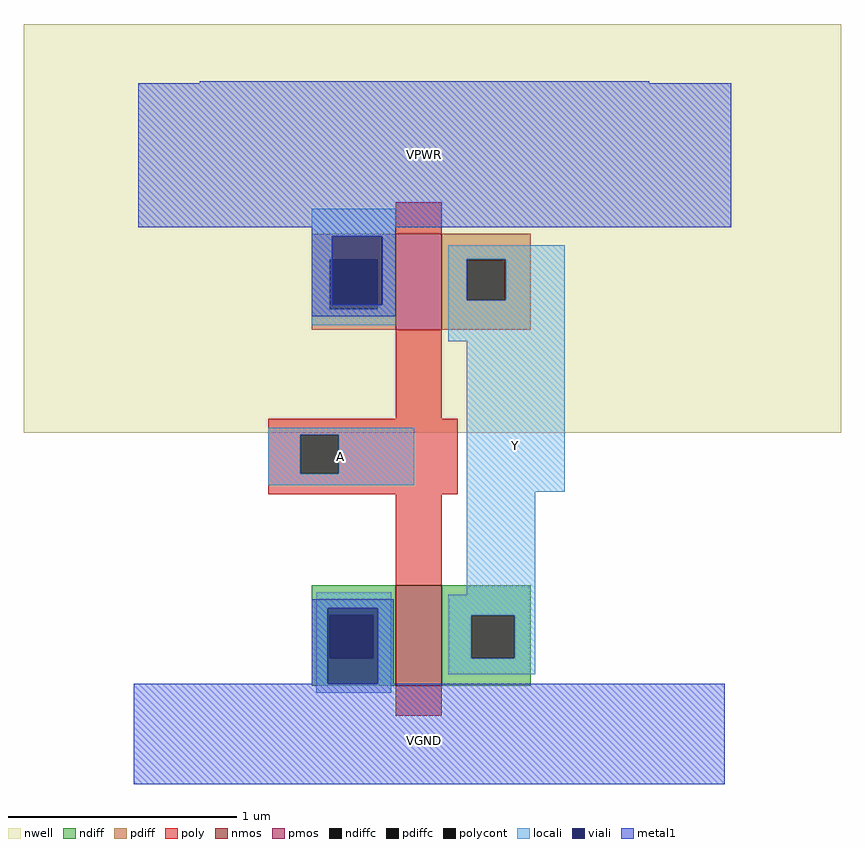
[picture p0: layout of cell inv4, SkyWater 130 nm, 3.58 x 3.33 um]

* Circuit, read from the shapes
.subckt inv4 A VGND VPWR Y
XM1 Y A VGND VSUBS sky130_fd_pr__nfet_01v8 w=0.44 l=0.2
XM2 Y A VPWR n1 sky130_fd_pr__pfet_01v8 w=0.42 l=0.2
.ends

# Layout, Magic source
magic
tech sky130A
<< nwell >>
rect -48 143 310 322
<< nmos >>
rect 115 32 135 76
<< pmos >>
rect 115 188 135 230
<< ndiff >>
rect 78 63 115 76
rect 78 44 86 63
rect 105 44 115 63
rect 78 32 115 44
rect 135 63 174 76
rect 135 44 148 63
rect 167 44 174 63
rect 135 32 174 44
<< pdiff >>
rect 78 219 115 230
rect 78 197 86 219
rect 107 197 115 219
rect 78 188 115 197
rect 135 219 174 230
rect 135 201 146 219
rect 163 201 174 219
rect 135 188 174 201
<< ndiffc >>
rect 86 44 105 63
rect 148 44 167 63
<< pdiffc >>
rect 86 197 107 219
rect 146 201 163 219
<< poly >>
rect 115 230 135 244
rect 115 149 135 188
rect 59 142 142 149
rect 59 125 73 142
rect 90 125 142 142
rect 59 116 142 125
rect 115 76 135 116
rect 115 19 135 32
<< polycont >>
rect 73 125 90 142
<< locali >>
rect 78 229 115 241
rect 78 219 87 229
rect 78 197 86 219
rect 109 199 115 229
rect 107 197 115 199
rect 78 190 115 197
rect 138 219 189 225
rect 138 201 146 219
rect 163 201 189 219
rect 138 183 189 201
rect 59 142 123 145
rect 59 125 73 142
rect 90 125 123 142
rect 59 120 123 125
rect 146 117 189 183
rect 80 66 113 73
rect 146 72 176 117
rect 80 33 85 66
rect 107 33 113 66
rect 138 63 176 72
rect 138 44 148 63
rect 167 44 176 63
rect 138 37 176 44
rect 80 29 113 33
<< viali >>
rect 87 219 109 229
rect 87 199 107 219
rect 107 199 109 219
rect 85 63 107 66
rect 85 44 86 63
rect 86 44 105 63
rect 105 44 107 63
rect 85 33 107 44
<< metal1 >>
rect 29 296 226 297
rect 2 233 262 296
rect 78 229 115 233
rect 78 199 87 229
rect 109 199 115 229
rect 78 194 115 199
rect 78 66 114 70
rect 78 33 85 66
rect 107 33 114 66
rect 0 -11 259 33
<< labels >>
flabel locali 66 124 115 141 0 FreeSans 120 0 0 0 A
port 0 nsew signal input
flabel locali 152 123 183 152 0 FreeSans 120 0 0 0 Y
port 3 nsew signal output
flabel metal1 40 243 215 287 0 FreeSans 120 0 0 0 VPWR
port 2 nsew power bidirectional
flabel metal1 40 -11 215 27 0 FreeSans 120 0 0 0 VGND
port 1 nsew ground bidirectional
<< properties >>
string FIXED_BBOX 0 0 260 272
string LEFclass CORE
string LEFsite unithd
string LEFsource USER
<< end >>
